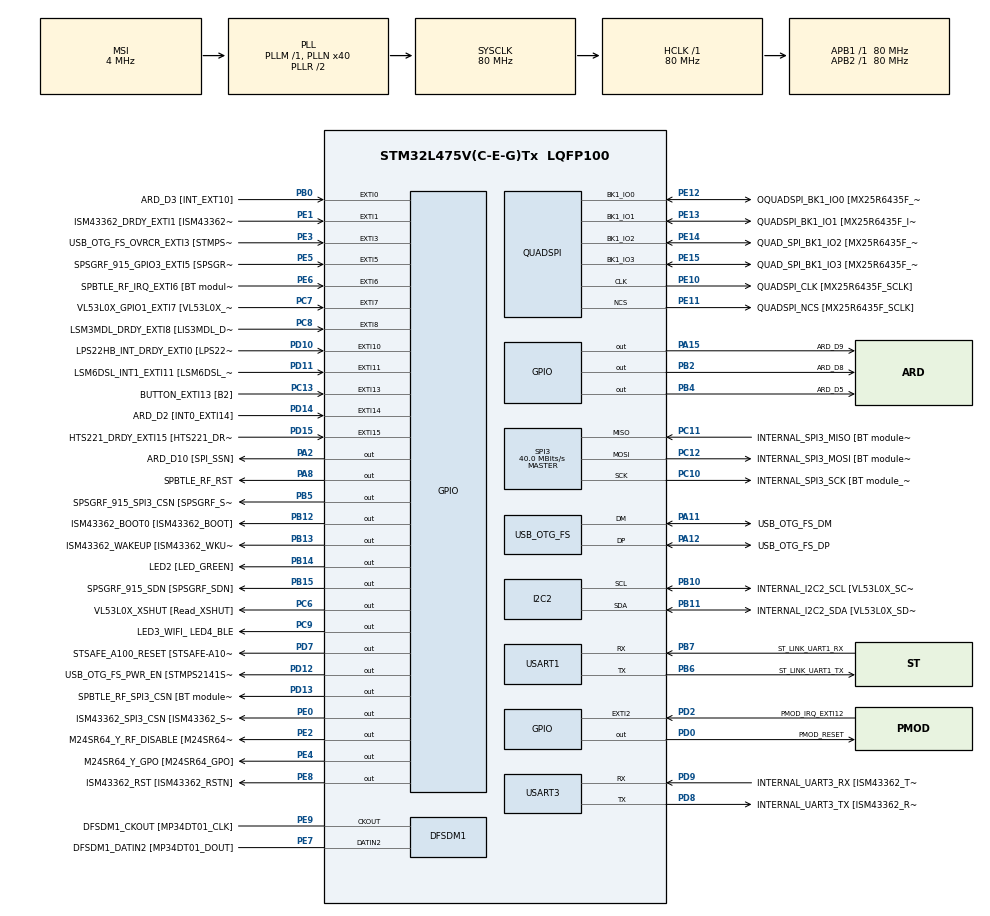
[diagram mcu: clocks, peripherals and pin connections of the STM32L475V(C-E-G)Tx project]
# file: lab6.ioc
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ADC1.Channel-0\#ChannelRegularConversion=ADC_CHANNEL_TEMPSENSOR
ADC1.ClockPrescaler=ADC_CLOCK_SYNC_PCLK_DIV4
ADC1.ContinuousConvMode=DISABLE
ADC1.ExternalTrigConv=ADC_EXTERNALTRIG_T1_TRGO
ADC1.NbrOfConversionFlag=1
ADC1.OffsetNumber-0\#ChannelRegularConversion=ADC_OFFSET_NONE
ADC1.Rank-0\#ChannelRegularConversion=1
ADC1.SamplingTime-0\#ChannelRegularConversion=ADC_SAMPLETIME_2CYCLES_5
ADC1.master=1
FREERTOS.Tasks01=defaultTask,24,128,StartDefaultTask,Default,NULL,Dynamic,NULL,NULL;adcTask,27,128,StartAdcTask,Default,NULL,Dynamic,NULL,NULL
I2C2.Timing=0x10D19CE4
Mcu.Family=STM32L4
Mcu.Name=STM32L475V(C-E-G)Tx
Mcu.Package=LQFP100
NVIC.ADC1_2_IRQn=true\:5\:0\:false\:false\:true\:true\:true\:true\:true
NVIC.EXTI15_10_IRQn=true\:5\:0\:false\:false\:true\:true\:true\:true\:true
NVIC.EXTI9_5_IRQn=true\:5\:0\:false\:false\:true\:true\:true\:true\:true
NVIC.PriorityGroup=NVIC_PRIORITYGROUP_4
PA0.GPIO_Label=ARD_D1 [UART4_TX]
PA0.Signal=UART4_TX
PA1.GPIO_Label=ARD_D0 [UART4_RX]
PA1.Signal=UART4_RX
PA10.GPIO_Label=USB_OTG_FS_ID
PA10.Signal=USB_OTG_FS_ID
PA11.GPIO_Label=USB_OTG_FS_DM
PA11.Mode=Device_Only
PA11.Signal=USB_OTG_FS_DM
PA12.GPIO_Label=USB_OTG_FS_DP
PA12.Mode=Device_Only
PA12.Signal=USB_OTG_FS_DP
PA13\ (JTMS-SWDIO).GPIO_Label=SYS_JTMS_SWDIO
PA13\ (JTMS-SWDIO).Mode=Serial_Wire
PA13\ (JTMS-SWDIO).Signal=SYS_JTMS-SWDIO
PA14\ (JTCK-SWCLK).GPIO_Label=SYS_JTCK_SWCLK
PA14\ (JTCK-SWCLK).Mode=Serial_Wire
PA14\ (JTCK-SWCLK).Signal=SYS_JTCK-SWCLK
PA15\ (JTDI).GPIO_Label=ARD_D9
PA15\ (JTDI).Signal=GPIO_Output
PA2.GPIO_Label=ARD_D10 [SPI_SSN]
PA2.Signal=GPIO_Output
PA3.GPIO_Label=ARD_D4
PA3.Signal=S_TIM2_CH4
PA4.GPIO_Label=ARD_D7
PA4.Signal=ADCx_IN9
PA5.GPIO_Label=ARD_D13 [SPI1_SCK]
PA5.Signal=SPI1_SCK
PA6.GPIO_Label=ARD_D12 [SPI1_MISO]
PA6.Signal=SPI1_MISO
PA7.GPIO_Label=ARD_D11 [SPI1_MOSI]
PA7.Signal=SPI1_MOSI
PA8.GPIO_Label=SPBTLE_RF_RST
PA8.Signal=GPIO_Output
PA9.GPIO_Label=USB_OTG_FS_VBUS [STMPS2141STR_OUT]
PA9.Signal=USB_OTG_FS_VBUS
PB0.GPIO_Label=ARD_D3 [INT_EXT10]
PB0.Signal=GPXTI0
PB1.GPIO_Label=ARD_D6 [ADC1_IN6]
PB1.Signal=ADCx_IN16
PB10.GPIO_Label=INTERNAL_I2C2_SCL [VL53L0X_SCL]
PB10.GPIO_Pu=GPIO_PULLUP
PB10.Mode=I2C
PB10.Signal=I2C2_SCL
PB11.GPIO_Label=INTERNAL_I2C2_SDA [VL53L0X_SDA]
PB11.GPIO_Pu=GPIO_PULLUP
PB11.Mode=I2C
PB11.Signal=I2C2_SDA
PB12.GPIO_Label=ISM43362_BOOT0 [ISM43362_BOOT]
PB12.Signal=GPIO_Output
PB13.GPIO_Label=ISM43362_WAKEUP [ISM43362_WKUP]
PB13.Signal=GPIO_Output
PB14.GPIO_Label=LED2 [LED_GREEN]
PB14.Signal=GPIO_Output
PB15.GPIO_Label=SPSGRF_915_SDN [SPSGRF_SDN]
PB15.Signal=GPIO_Output
PB2.GPIO_Label=ARD_D8
PB2.Signal=GPIO_Output
PB3\ (JTDO-TRACESWO).GPIO_Label=SYS_JTD0_SWO
PB3\ (JTDO-TRACESWO).Signal=SYS_JTDO-SWO
PB4\ (NJTRST).GPIO_Label=ARD_D5
PB4\ (NJTRST).Signal=GPIO_Output
PB5.GPIO_Label=SPSGRF_915_SPI3_CSN [SPSGRF_SPI_CS]
PB5.PinState=GPIO_PIN_SET
PB5.Signal=GPIO_Output
PB6.GPIO_Label=ST_LINK_UART1_TX
PB6.Mode=Asynchronous
PB6.Signal=USART1_TX
PB7.GPIO_Label=ST_LINK_UART1_RX
PB7.Mode=Asynchronous
PB7.Signal=USART1_RX
PB8.GPIO_Label=ARD_D15 [I2C1_SCL]
PB8.Signal=I2C1_SCL
PB9.GPIO_Label=ARD_D14 [I2C1_SDA]
PB9.Signal=I2C1_SDA
PC0.GPIO_Label=ARD_A5 [ADC]
PC0.Signal=ADCx_IN1
PC1.GPIO_Label=ARD_A4 [ADC]
PC1.Signal=ADCx_IN2
PC10.GPIO_Label=INTERNAL_SPI3_SCK [BT module_SPI_SCLK] [ISM43362_SCK]
PC10.Mode=Full_Duplex_Master
PC10.Signal=SPI3_SCK
PC11.GPIO_Label=INTERNAL_SPI3_MISO [BT module_SPI_MISO] [ISM43362_MISO]
PC11.Mode=Full_Duplex_Master
PC11.Signal=SPI3_MISO
PC12.GPIO_Label=INTERNAL_SPI3_MOSI [BT module_SPI_MOSI] [ISM43362_MOSI]
PC12.Mode=Full_Duplex_Master
PC12.Signal=SPI3_MOSI
PC13.GPIO_Label=BUTTON_EXTI13 [B2]
PC13.GPIO_ModeDefaultEXTI=GPIO_MODE_IT_FALLING
PC13.Signal=GPXTI13
PC14-OSC32_IN\ (PC14).Mode=LSE-External-Oscillator
PC14-OSC32_IN\ (PC14).Signal=RCC_OSC32_IN
PC15-OSC32_OUT\ (PC15).Mode=LSE-External-Oscillator
PC15-OSC32_OUT\ (PC15).Signal=RCC_OSC32_OUT
PC2.GPIO_Label=ARD_A3 [ADC]
PC2.Signal=ADCx_IN3
PC3.GPIO_Label=ARD_A2 [ADC]
PC3.Signal=ADCx_IN4
PC4.GPIO_Label=ARD_A1 [ADC]
PC4.Signal=ADCx_IN13
PC5.GPIO_Label=ARD_A0 [ADC]
PC5.Signal=ADCx_IN14
PC6.GPIO_Label=VL53L0X_XSHUT [Read_XSHUT]
PC6.Signal=GPIO_Output
PC7.GPIO_Label=VL53L0X_GPIO1_EXTI7 [VL53L0X_GPIO1]
PC7.Signal=GPXTI7
PC8.GPIO_Label=LSM3MDL_DRDY_EXTI8 [LIS3MDL_DRDY]
PC8.Signal=GPXTI8
PC9.GPIO_Label=LED3_WIFI_ LED4_BLE
PC9.Signal=GPIO_Output
PD0.GPIO_Label=PMOD_RESET
PD0.Signal=GPIO_Output
PD1.GPIO_Label=PMOD_SPI2_SCK
PD1.Signal=SPI2_SCK
PD10.GPIO_Label=LPS22HB_INT_DRDY_EXTI0 [LPS22HB_INT_DRDY] 
PD10.Signal=GPXTI10
PD11.GPIO_Label=LSM6DSL_INT1_EXTI11 [LSM6DSL_INT1]
PD11.Signal=GPXTI11
PD12.GPIO_Label=USB_OTG_FS_PWR_EN [STMPS2141STR_EN]
PD12.Signal=GPIO_Output
PD13.GPIO_Label=SPBTLE_RF_SPI3_CSN [BT module_SPI_CS]
PD13.PinState=GPIO_PIN_SET
PD13.Signal=GPIO_Output
PD14.GPIO_Label=ARD_D2 [INT0_EXTI14]
PD14.Signal=GPXTI14
PD15.GPIO_Label=HTS221_DRDY_EXTI15 [HTS221_DRDY]
PD15.Signal=GPXTI15
PD2.GPIO_Label=PMOD_IRQ_EXTI12
PD2.Signal=GPXTI2
PD3.GPIO_Label=PMOD_UART2_CTS
PD3.Signal=USART2_CTS
PD4.GPIO_Label=PMOD_UART2_RTS
PD4.Signal=USART2_RTS
PD5.GPIO_Label=PMOD_UART2_TX
PD5.Signal=USART2_TX
PD6.GPIO_Label=PMOD_UART2_RX
PD6.Signal=USART2_RX
PD7.GPIO_Label=STSAFE_A100_RESET [STSAFE-A100_RESET]
PD7.Signal=GPIO_Output
PD8.GPIO_Label=INTERNAL_UART3_TX [ISM43362_RX]
PD8.Mode=Asynchronous
PD8.Signal=USART3_TX
PD9.GPIO_Label=INTERNAL_UART3_RX [ISM43362_TX]
PD9.Mode=Asynchronous
PD9.Signal=USART3_RX
PE0.GPIO_Label=ISM43362_SPI3_CSN [ISM43362_SSN]
PE0.PinState=GPIO_PIN_SET
PE0.Signal=GPIO_Output
PE1.GPIO_Label=ISM43362_DRDY_EXTI1 [ISM43362_DATARDY]
PE1.Signal=GPXTI1
PE10.GPIO_Label=QUADSPI_CLK [MX25R6435F_SCLK]
PE10.Mode=Single Bank
PE10.Signal=QUADSPI_CLK
PE11.GPIO_Label=QUADSPI_NCS [MX25R6435F_SCLK]
PE11.Mode=Single Bank
PE11.Signal=QUADSPI_NCS
PE12.GPIO_Label=OQUADSPI_BK1_IO0 [MX25R6435F_IO0]
PE12.Mode=Single Bank
PE12.Signal=QUADSPI_BK1_IO0
PE13.GPIO_Label=QUADSPI_BK1_IO1 [MX25R6435F_IO1]
PE13.Mode=Single Bank
PE13.Signal=QUADSPI_BK1_IO1
PE14.GPIO_Label=QUAD_SPI_BK1_IO2 [MX25R6435F_IO2]
PE14.Mode=Single Bank
PE14.Signal=QUADSPI_BK1_IO2
PE15.GPIO_Label=QUAD_SPI_BK1_IO3 [MX25R6435F_IO3]
PE15.Mode=Single Bank
PE15.Signal=QUADSPI_BK1_IO3
PE2.GPIO_Label=M24SR64_Y_RF_DISABLE [M24SR64_RFDIS]
PE2.Signal=GPIO_Output
PE3.GPIO_Label=USB_OTG_FS_OVRCR_EXTI3 [STMPS2141STR_FAULT]
PE3.Signal=GPXTI3
PE4.GPIO_Label=M24SR64_Y_GPO [M24SR64_GPO]
PE4.Signal=GPIO_Output
PE5.GPIO_Label=SPSGRF_915_GPIO3_EXTI5 [SPSGRF_GPIO_3]
PE5.Signal=GPXTI5
PE6.GPIO_Label=SPBTLE_RF_IRQ_EXTI6 [BT module_SPI_IRQ]
PE6.Signal=GPXTI6
PE7.GPIO_Label=DFSDM1_DATIN2 [MP34DT01_DOUT]
PE7.Signal=S_DATAIN2DFSDM1
PE8.GPIO_Label=ISM43362_RST [ISM43362_RSTN]
PE8.Signal=GPIO_Output
PE9.GPIO_Label=DFSDM1_CKOUT [MP34DT01_CLK]
PE9.Signal=S_CKOUTDFSDM1
ProjectManager.HeapSize=0x200
ProjectManager.StackSize=0x400
ProjectManager.TargetToolchain=STM32CubeIDE
QUADSPI.ClockPrescaler=2
QUADSPI.FifoThreshold=4
QUADSPI.FlashSize=23
QUADSPI.SampleShifting=QSPI_SAMPLE_SHIFTING_HALFCYCLE
RCC.ADCFreq_Value=48000000
RCC.AHBFreq_Value=80000000
RCC.APB1Freq_Value=80000000
RCC.APB1TimFreq_Value=80000000
RCC.APB2Freq_Value=80000000
RCC.APB2TimFreq_Value=80000000
RCC.CortexFreq_Value=80000000
RCC.HCLKFreq_Value=80000000
RCC.HSE_VALUE=8000000
RCC.HSI_VALUE=16000000
RCC.MSI_VALUE=4000000
RCC.PLLN=40
RCC.PLLSAI1N=24
RCC.SYSCLKFreq_VALUE=80000000
RCC.SYSCLKSource=RCC_SYSCLKSOURCE_PLLCLK
RCC.USBFreq_Value=48000000
RCC.VCOOutputFreq_Value=160000000
SH.ADCx_IN1.0=ADC1_IN1
SH.ADCx_IN13.0=ADC1_IN13
SH.ADCx_IN14.0=ADC1_IN14
SH.ADCx_IN16.0=ADC1_IN16
SH.ADCx_IN2.0=ADC1_IN2
SH.ADCx_IN3.0=ADC1_IN3
SH.ADCx_IN4.0=ADC1_IN4
SH.ADCx_IN9.0=ADC1_IN9
SH.S_CKOUTDFSDM1.0=DFSDM1_CKOUT,CKOUT
SH.S_CKOUTDFSDM1.1=DFSDM1_CKOUT,PDM_SPI_Input_from_ch12_and_Internal_Clock
SH.S_DATAIN2DFSDM1.0=DFSDM1_DATIN2,PDM_SPI_Input_from_ch12_and_Internal_Clock
SH.S_TIM2_CH4.0=TIM2_CH4
SPI3.CalculateBaudRate=40.0 MBits/s
SPI3.Direction=SPI_DIRECTION_2LINES
SPI3.Mode=SPI_MODE_MASTER
SPI3.VirtualType=VM_MASTER
TIM1.Period=999
TIM1.Prescaler=3999
TIM1.TIM_MasterOutputTrigger=TIM_TRGO_UPDATE
USART1.VirtualMode-Asynchronous=VM_ASYNC
USART3.VirtualMode-Asynchronous=VM_ASYNC
USB_OTG_FS.VirtualMode=Device_Only
VP_ADC1_TempSens_Input.Mode=IN-TempSens
VP_FREERTOS_VS_CMSIS_V2.Mode=CMSIS_V2
VP_TIM1_VS_ClockSourceINT.Mode=Internal
board=B-L475E-IOT01A2

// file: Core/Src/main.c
/* USER CODE BEGIN Header */
/**
  ******************************************************************************
  * @file           : main.c
  * @brief          : Main program body
  ******************************************************************************
  * @attention
  *
  * Copyright (c) 2024 STMicroelectronics.
  * All rights reserved.
  *
  * This software is licensed under terms that can be found in the LICENSE file
  * in the root directory of this software component.
  * If no LICENSE file comes with this software, it is provided AS-IS.
  *
  ******************************************************************************
  */
/* USER CODE END Header */
#include "main.h"
#include "cmsis_os.h"

/* USER CODE BEGIN Includes */
#include "stdio.h"
/* USER CODE END Includes */

/* USER CODE BEGIN PD */
#define TS_CAL1_ADDR ((uint16_t*) 0x1FFF75A8)  // TS_CAL1 address (30°C)
#define TS_CAL2_ADDR ((uint16_t*) 0x1FFF75CA)  // TS_CAL2 address (110°C)
#define TEMP30_CAL (*TS_CAL1_ADDR)
#define TEMP110_CAL (*TS_CAL2_ADDR)
#define V_REF 3.0f  // Reference voltage for STM32L4 series
/* USER CODE END PD */

ADC_HandleTypeDef hadc1;

DFSDM_Channel_HandleTypeDef hdfsdm1_channel1;

I2C_HandleTypeDef hi2c2;

QSPI_HandleTypeDef hqspi;

SPI_HandleTypeDef hspi3;

TIM_HandleTypeDef htim1;

UART_HandleTypeDef huart1;
UART_HandleTypeDef huart3;

PCD_HandleTypeDef hpcd_USB_OTG_FS;

/* Definitions for defaultTask */
osThreadId_t defaultTaskHandle;
const osThreadAttr_t defaultTask_attributes = {
  .name = "defaultTask",
  .stack_size = 128 * 4,
  .priority = (osPriority_t) osPriorityNormal,
};
/* Definitions for adcTask */
osThreadId_t adcTaskHandle;
const osThreadAttr_t adcTask_attributes = {
  .name = "adcTask",
  .stack_size = 128 * 4,
  .priority = (osPriority_t) osPriorityNormal3,
};
/* USER CODE BEGIN PV */
osSemaphoreId tim1_id;
uint16_t adcValue;
/* USER CODE END PV */

void SystemClock_Config(void);
void PeriphCommonClock_Config(void);
static void MX_GPIO_Init(void);
static void MX_DFSDM1_Init(void);
static void MX_I2C2_Init(void);
static void MX_QUADSPI_Init(void);
static void MX_SPI3_Init(void);
static void MX_USART1_UART_Init(void);
static void MX_USART3_UART_Init(void);
static void MX_USB_OTG_FS_PCD_Init(void);
static void MX_ADC1_Init(void);
static void MX_TIM1_Init(void);
void StartDefaultTask(void *argument);
void StartAdcTask(void *argument);

/* USER CODE BEGIN 0 */
int __io_putchar(int ch)
{
	HAL_UART_Transmit(&huart1, (uint8_t *)&ch, 1, 0xFFFF);
	return ch;
}
void HAL_ADC_ConvCpltCallback(ADC_HandleTypeDef *hadc)
{
//	uint16_t val = HAL_ADC_GetValue(&hadc1);
//	printf("%d\n", (int)val);

//	if (hadc->Instance == ADC1) {
//		uint16_t adcValue = HAL_ADC_GetValue(hadc); // Read ADC value
//
//		// Notify ADC task with the ADC result
//		xTaskNotify(adcTaskHandle, adcValue, eSetValueWithOverwrite);
//	}
	if (hadc->Instance == ADC1) {
		adcValue = HAL_ADC_GetValue(&hadc1); // Read ADC value

		// Send ADC result to the ADC task
		osSemaphoreRelease(tim1_id);
	}
}
/* USER CODE END 0 */

int main(void)
{

  /* MCU Configuration--------------------------------------------------------*/

  /* Reset of all peripherals, Initializes the Flash interface and the Systick. */
  HAL_Init();

  /* Configure the system clock */
  SystemClock_Config();

  /* Configure the peripherals common clocks */
  PeriphCommonClock_Config();

  /* Initialize all configured peripherals */
  MX_GPIO_Init();
  MX_DFSDM1_Init();
  MX_I2C2_Init();
  MX_QUADSPI_Init();
  MX_SPI3_Init();
  MX_USART1_UART_Init();
  MX_USART3_UART_Init();
  MX_USB_OTG_FS_PCD_Init();
  MX_ADC1_Init();
  MX_TIM1_Init();
  /* USER CODE BEGIN 2 */
  HAL_ADC_Start_IT(&hadc1);
  HAL_TIM_Base_Start_IT(&htim1);
  /* USER CODE END 2 */

  /* Init scheduler */
  osKernelInitialize();

  /* USER CODE BEGIN RTOS_SEMAPHORES */
  /* add semaphores, ... */
  tim1_id = osSemaphoreNew(1,0,NULL);
  /* USER CODE END RTOS_SEMAPHORES */

  /* Create the thread(s) */
  /* creation of defaultTask */
  defaultTaskHandle = osThreadNew(StartDefaultTask, NULL, &defaultTask_attributes);

  /* creation of adcTask */
  adcTaskHandle = osThreadNew(StartAdcTask, NULL, &adcTask_attributes);

  /* Start scheduler */
  osKernelStart();

  /* We should never get here as control is now taken by the scheduler */

  /* Infinite loop */
  while (1)
  {

  }
}

void SystemClock_Config(void)
{
  RCC_OscInitTypeDef RCC_OscInitStruct = {0};
  RCC_ClkInitTypeDef RCC_ClkInitStruct = {0};

  /** Configure the main internal regulator output voltage
  */
  if (HAL_PWREx_ControlVoltageScaling(PWR_REGULATOR_VOLTAGE_SCALE1) != HAL_OK)
  {
    Error_Handler();
  }

  /** Configure LSE Drive Capability
  */
  HAL_PWR_EnableBkUpAccess();
  __HAL_RCC_LSEDRIVE_CONFIG(RCC_LSEDRIVE_LOW);

  /** Initializes the RCC Oscillators according to the specified parameters
  * in the RCC_OscInitTypeDef structure.
  */
  RCC_OscInitStruct.OscillatorType = RCC_OSCILLATORTYPE_LSE|RCC_OSCILLATORTYPE_MSI;
  RCC_OscInitStruct.LSEState = RCC_LSE_ON;
  RCC_OscInitStruct.MSIState = RCC_MSI_ON;
  RCC_OscInitStruct.MSICalibrationValue = 0;
  RCC_OscInitStruct.MSIClockRange = RCC_MSIRANGE_6;
  RCC_OscInitStruct.PLL.PLLState = RCC_PLL_ON;
  RCC_OscInitStruct.PLL.PLLSource = RCC_PLLSOURCE_MSI;
  RCC_OscInitStruct.PLL.PLLM = 1;
  RCC_OscInitStruct.PLL.PLLN = 40;
  RCC_OscInitStruct.PLL.PLLP = RCC_PLLP_DIV7;
  RCC_OscInitStruct.PLL.PLLQ = RCC_PLLQ_DIV2;
  RCC_OscInitStruct.PLL.PLLR = RCC_PLLR_DIV2;
  if (HAL_RCC_OscConfig(&RCC_OscInitStruct) != HAL_OK)
  {
    Error_Handler();
  }

  /** Initializes the CPU, AHB and APB buses clocks
  */
  RCC_ClkInitStruct.ClockType = RCC_CLOCKTYPE_HCLK|RCC_CLOCKTYPE_SYSCLK
                              |RCC_CLOCKTYPE_PCLK1|RCC_CLOCKTYPE_PCLK2;
  RCC_ClkInitStruct.SYSCLKSource = RCC_SYSCLKSOURCE_PLLCLK;
  RCC_ClkInitStruct.AHBCLKDivider = RCC_SYSCLK_DIV1;
  RCC_ClkInitStruct.APB1CLKDivider = RCC_HCLK_DIV1;
  RCC_ClkInitStruct.APB2CLKDivider = RCC_HCLK_DIV1;

  if (HAL_RCC_ClockConfig(&RCC_ClkInitStruct, FLASH_LATENCY_4) != HAL_OK)
  {
    Error_Handler();
  }

  /** Enable MSI Auto calibration
  */
  HAL_RCCEx_EnableMSIPLLMode();
}

void PeriphCommonClock_Config(void)
{
  RCC_PeriphCLKInitTypeDef PeriphClkInit = {0};

  /** Initializes the peripherals clock
  */
  PeriphClkInit.PeriphClockSelection = RCC_PERIPHCLK_USB;
  PeriphClkInit.UsbClockSelection = RCC_USBCLKSOURCE_PLLSAI1;
  PeriphClkInit.PLLSAI1.PLLSAI1Source = RCC_PLLSOURCE_MSI;
  PeriphClkInit.PLLSAI1.PLLSAI1M = 1;
  PeriphClkInit.PLLSAI1.PLLSAI1N = 24;
  PeriphClkInit.PLLSAI1.PLLSAI1P = RCC_PLLP_DIV7;
  PeriphClkInit.PLLSAI1.PLLSAI1Q = RCC_PLLQ_DIV2;
  PeriphClkInit.PLLSAI1.PLLSAI1R = RCC_PLLR_DIV2;
  PeriphClkInit.PLLSAI1.PLLSAI1ClockOut = RCC_PLLSAI1_48M2CLK;
  if (HAL_RCCEx_PeriphCLKConfig(&PeriphClkInit) != HAL_OK)
  {
    Error_Handler();
  }
}

static void MX_ADC1_Init(void)
{

  ADC_MultiModeTypeDef multimode = {0};
  ADC_ChannelConfTypeDef sConfig = {0};

  /** Common config
  */
  hadc1.Instance = ADC1;
  hadc1.Init.ClockPrescaler = ADC_CLOCK_SYNC_PCLK_DIV4;
  hadc1.Init.Resolution = ADC_RESOLUTION_12B;
  hadc1.Init.DataAlign = ADC_DATAALIGN_RIGHT;
  hadc1.Init.ScanConvMode = ADC_SCAN_DISABLE;
  hadc1.Init.EOCSelection = ADC_EOC_SINGLE_CONV;
  hadc1.Init.LowPowerAutoWait = DISABLE;
  hadc1.Init.ContinuousConvMode = DISABLE;
  hadc1.Init.NbrOfConversion = 1;
  hadc1.Init.DiscontinuousConvMode = DISABLE;
  hadc1.Init.ExternalTrigConv = ADC_EXTERNALTRIG_T1_TRGO;
  hadc1.Init.ExternalTrigConvEdge = ADC_EXTERNALTRIGCONVEDGE_RISING;
  hadc1.Init.DMAContinuousRequests = DISABLE;
  hadc1.Init.Overrun = ADC_OVR_DATA_PRESERVED;
  hadc1.Init.OversamplingMode = DISABLE;
  if (HAL_ADC_Init(&hadc1) != HAL_OK)
  {
    Error_Handler();
  }

  /** Configure the ADC multi-mode
  */
  multimode.Mode = ADC_MODE_INDEPENDENT;
  if (HAL_ADCEx_MultiModeConfigChannel(&hadc1, &multimode) != HAL_OK)
  {
    Error_Handler();
  }

  /** Configure Regular Channel
  */
  sConfig.Channel = ADC_CHANNEL_TEMPSENSOR;
  sConfig.Rank = ADC_REGULAR_RANK_1;
  sConfig.SamplingTime = ADC_SAMPLETIME_2CYCLES_5;
  sConfig.SingleDiff = ADC_SINGLE_ENDED;
  sConfig.OffsetNumber = ADC_OFFSET_NONE;
  sConfig.Offset = 0;
  if (HAL_ADC_ConfigChannel(&hadc1, &sConfig) != HAL_OK)
  {
    Error_Handler();
  }

}

static void MX_DFSDM1_Init(void)
{

  hdfsdm1_channel1.Instance = DFSDM1_Channel1;
  hdfsdm1_channel1.Init.OutputClock.Activation = ENABLE;
  hdfsdm1_channel1.Init.OutputClock.Selection = DFSDM_CHANNEL_OUTPUT_CLOCK_SYSTEM;
  hdfsdm1_channel1.Init.OutputClock.Divider = 2;
  hdfsdm1_channel1.Init.Input.Multiplexer = DFSDM_CHANNEL_EXTERNAL_INPUTS;
  hdfsdm1_channel1.Init.Input.DataPacking = DFSDM_CHANNEL_STANDARD_MODE;
  hdfsdm1_channel1.Init.Input.Pins = DFSDM_CHANNEL_FOLLOWING_CHANNEL_PINS;
  hdfsdm1_channel1.Init.SerialInterface.Type = DFSDM_CHANNEL_SPI_RISING;
  hdfsdm1_channel1.Init.SerialInterface.SpiClock = DFSDM_CHANNEL_SPI_CLOCK_INTERNAL;
  hdfsdm1_channel1.Init.Awd.FilterOrder = DFSDM_CHANNEL_FASTSINC_ORDER;
  hdfsdm1_channel1.Init.Awd.Oversampling = 1;
  hdfsdm1_channel1.Init.Offset = 0;
  hdfsdm1_channel1.Init.RightBitShift = 0x00;
  if (HAL_DFSDM_ChannelInit(&hdfsdm1_channel1) != HAL_OK)
  {
    Error_Handler();
  }

}

static void MX_I2C2_Init(void)
{

  hi2c2.Instance = I2C2;
  hi2c2.Init.Timing = 0x10D19CE4;
  hi2c2.Init.OwnAddress1 = 0;
  hi2c2.Init.AddressingMode = I2C_ADDRESSINGMODE_7BIT;
  hi2c2.Init.DualAddressMode = I2C_DUALADDRESS_DISABLE;
  hi2c2.Init.OwnAddress2 = 0;
  hi2c2.Init.OwnAddress2Masks = I2C_OA2_NOMASK;
  hi2c2.Init.GeneralCallMode = I2C_GENERALCALL_DISABLE;
  hi2c2.Init.NoStretchMode = I2C_NOSTRETCH_DISABLE;
  if (HAL_I2C_Init(&hi2c2) != HAL_OK)
  {
    Error_Handler();
  }

  /** Configure Analogue filter
  */
  if (HAL_I2CEx_ConfigAnalogFilter(&hi2c2, I2C_ANALOGFILTER_ENABLE) != HAL_OK)
  {
    Error_Handler();
  }

  /** Configure Digital filter
  */
  if (HAL_I2CEx_ConfigDigitalFilter(&hi2c2, 0) != HAL_OK)
  {
    Error_Handler();
  }

}

static void MX_QUADSPI_Init(void)
{

  /* QUADSPI parameter configuration*/
  hqspi.Instance = QUADSPI;
  hqspi.Init.ClockPrescaler = 2;
  hqspi.Init.FifoThreshold = 4;
  hqspi.Init.SampleShifting = QSPI_SAMPLE_SHIFTING_HALFCYCLE;
  hqspi.Init.FlashSize = 23;
  hqspi.Init.ChipSelectHighTime = QSPI_CS_HIGH_TIME_1_CYCLE;
  hqspi.Init.ClockMode = QSPI_CLOCK_MODE_0;
  if (HAL_QSPI_Init(&hqspi) != HAL_OK)
  {
    Error_Handler();
  }

}

static void MX_SPI3_Init(void)
{

  /* SPI3 parameter configuration*/
  hspi3.Instance = SPI3;
  hspi3.Init.Mode = SPI_MODE_MASTER;
  hspi3.Init.Direction = SPI_DIRECTION_2LINES;
  hspi3.Init.DataSize = SPI_DATASIZE_4BIT;
  hspi3.Init.CLKPolarity = SPI_POLARITY_LOW;
  hspi3.Init.CLKPhase = SPI_PHASE_1EDGE;
  hspi3.Init.NSS = SPI_NSS_SOFT;
  hspi3.Init.BaudRatePrescaler = SPI_BAUDRATEPRESCALER_2;
  hspi3.Init.FirstBit = SPI_FIRSTBIT_MSB;
  hspi3.Init.TIMode = SPI_TIMODE_DISABLE;
  hspi3.Init.CRCCalculation = SPI_CRCCALCULATION_DISABLE;
  hspi3.Init.CRCPolynomial = 7;
  hspi3.Init.CRCLength = SPI_CRC_LENGTH_DATASIZE;
  hspi3.Init.NSSPMode = SPI_NSS_PULSE_ENABLE;
  if (HAL_SPI_Init(&hspi3) != HAL_OK)
  {
    Error_Handler();
  }

}

static void MX_TIM1_Init(void)
{

  TIM_ClockConfigTypeDef sClockSourceConfig = {0};
  TIM_MasterConfigTypeDef sMasterConfig = {0};

  htim1.Instance = TIM1;
  htim1.Init.Prescaler = 3999;
  htim1.Init.CounterMode = TIM_COUNTERMODE_UP;
  htim1.Init.Period = 999;
  htim1.Init.ClockDivision = TIM_CLOCKDIVISION_DIV1;
  htim1.Init.RepetitionCounter = 0;
  htim1.Init.AutoReloadPreload = TIM_AUTORELOAD_PRELOAD_DISABLE;
  if (HAL_TIM_Base_Init(&htim1) != HAL_OK)
  {
    Error_Handler();
  }
  sClockSourceConfig.ClockSource = TIM_CLOCKSOURCE_INTERNAL;
  if (HAL_TIM_ConfigClockSource(&htim1, &sClockSourceConfig) != HAL_OK)
  {
    Error_Handler();
  }
  sMasterConfig.MasterOutputTrigger = TIM_TRGO_UPDATE;
  sMasterConfig.MasterOutputTrigger2 = TIM_TRGO2_RESET;
  sMasterConfig.MasterSlaveMode = TIM_MASTERSLAVEMODE_DISABLE;
  if (HAL_TIMEx_MasterConfigSynchronization(&htim1, &sMasterConfig) != HAL_OK)
  {
    Error_Handler();
  }

}

static void MX_USART1_UART_Init(void)
{

  huart1.Instance = USART1;
  huart1.Init.BaudRate = 115200;
  huart1.Init.WordLength = UART_WORDLENGTH_8B;
  huart1.Init.StopBits = UART_STOPBITS_1;
  huart1.Init.Parity = UART_PARITY_NONE;
  huart1.Init.Mode = UART_MODE_TX_RX;
  huart1.Init.HwFlowCtl = UART_HWCONTROL_NONE;
  huart1.Init.OverSampling = UART_OVERSAMPLING_16;
  huart1.Init.OneBitSampling = UART_ONE_BIT_SAMPLE_DISABLE;
  huart1.AdvancedInit.AdvFeatureInit = UART_ADVFEATURE_NO_INIT;
  if (HAL_UART_Init(&huart1) != HAL_OK)
  {
    Error_Handler();
  }

}

static void MX_USART3_UART_Init(void)
{

  huart3.Instance = USART3;
  huart3.Init.BaudRate = 115200;
  huart3.Init.WordLength = UART_WORDLENGTH_8B;
  huart3.Init.StopBits = UART_STOPBITS_1;
  huart3.Init.Parity = UART_PARITY_NONE;
  huart3.Init.Mode = UART_MODE_TX_RX;
  huart3.Init.HwFlowCtl = UART_HWCONTROL_NONE;
  huart3.Init.OverSampling = UART_OVERSAMPLING_16;
  huart3.Init.OneBitSampling = UART_ONE_BIT_SAMPLE_DISABLE;
  huart3.AdvancedInit.AdvFeatureInit = UART_ADVFEATURE_NO_INIT;
  if (HAL_UART_Init(&huart3) != HAL_OK)
  {
    Error_Handler();
  }

}

static void MX_USB_OTG_FS_PCD_Init(void)
{

  hpcd_USB_OTG_FS.Instance = USB_OTG_FS;
  hpcd_USB_OTG_FS.Init.dev_endpoints = 6;
  hpcd_USB_OTG_FS.Init.speed = PCD_SPEED_FULL;
  hpcd_USB_OTG_FS.Init.phy_itface = PCD_PHY_EMBEDDED;
  hpcd_USB_OTG_FS.Init.Sof_enable = DISABLE;
  hpcd_USB_OTG_FS.Init.low_power_enable = DISABLE;
  hpcd_USB_OTG_FS.Init.lpm_enable = DISABLE;
  hpcd_USB_OTG_FS.Init.battery_charging_enable = DISABLE;
  hpcd_USB_OTG_FS.Init.use_dedicated_ep1 = DISABLE;
  hpcd_USB_OTG_FS.Init.vbus_sensing_enable = DISABLE;
  if (HAL_PCD_Init(&hpcd_USB_OTG_FS) != HAL_OK)
  {
    Error_Handler();
  }

}

static void MX_GPIO_Init(void)
{
  GPIO_InitTypeDef GPIO_InitStruct = {0};

  /* GPIO Ports Clock Enable */
  __HAL_RCC_GPIOE_CLK_ENABLE();
  __HAL_RCC_GPIOC_CLK_ENABLE();
  __HAL_RCC_GPIOA_CLK_ENABLE();
  __HAL_RCC_GPIOB_CLK_ENABLE();
  __HAL_RCC_GPIOD_CLK_ENABLE();

  /*Configure GPIO pin Output Level */
  HAL_GPIO_WritePin(GPIOE, M24SR64_Y_RF_DISABLE_Pin|M24SR64_Y_GPO_Pin|ISM43362_RST_Pin, GPIO_PIN_RESET);

  /*Configure GPIO pin Output Level */
  HAL_GPIO_WritePin(GPIOA, ARD_D10_Pin|SPBTLE_RF_RST_Pin|ARD_D9_Pin, GPIO_PIN_RESET);

  /*Configure GPIO pin Output Level */
  HAL_GPIO_WritePin(GPIOB, ARD_D8_Pin|ISM43362_BOOT0_Pin|ISM43362_WAKEUP_Pin|LED2_Pin
                          |SPSGRF_915_SDN_Pin|ARD_D5_Pin, GPIO_PIN_RESET);

  /*Configure GPIO pin Output Level */
  HAL_GPIO_WritePin(GPIOD, USB_OTG_FS_PWR_EN_Pin|PMOD_RESET_Pin|STSAFE_A100_RESET_Pin, GPIO_PIN_RESET);

  /*Configure GPIO pin Output Level */
  HAL_GPIO_WritePin(SPBTLE_RF_SPI3_CSN_GPIO_Port, SPBTLE_RF_SPI3_CSN_Pin, GPIO_PIN_SET);

  /*Configure GPIO pin Output Level */
  HAL_GPIO_WritePin(GPIOC, VL53L0X_XSHUT_Pin|LED3_WIFI__LED4_BLE_Pin, GPIO_PIN_RESET);

  /*Configure GPIO pin Output Level */
  HAL_GPIO_WritePin(SPSGRF_915_SPI3_CSN_GPIO_Port, SPSGRF_915_SPI3_CSN_Pin, GPIO_PIN_SET);

  /*Configure GPIO pin Output Level */
  HAL_GPIO_WritePin(ISM43362_SPI3_CSN_GPIO_Port, ISM43362_SPI3_CSN_Pin, GPIO_PIN_SET);

  /*Configure GPIO pins : M24SR64_Y_RF_DISABLE_Pin M24SR64_Y_GPO_Pin ISM43362_RST_Pin ISM43362_SPI3_CSN_Pin */
  GPIO_InitStruct.Pin = M24SR64_Y_RF_DISABLE_Pin|M24SR64_Y_GPO_Pin|ISM43362_RST_Pin|ISM43362_SPI3_CSN_Pin;
  GPIO_InitStruct.Mode = GPIO_MODE_OUTPUT_PP;
  GPIO_InitStruct.Pull = GPIO_NOPULL;
  GPIO_InitStruct.Speed = GPIO_SPEED_FREQ_LOW;
  HAL_GPIO_Init(GPIOE, &GPIO_InitStruct);

  /*Configure GPIO pins : USB_OTG_FS_OVRCR_EXTI3_Pin SPSGRF_915_GPIO3_EXTI5_Pin SPBTLE_RF_IRQ_EXTI6_Pin ISM43362_DRDY_EXTI1_Pin */
  GPIO_InitStruct.Pin = USB_OTG_FS_OVRCR_EXTI3_Pin|SPSGRF_915_GPIO3_EXTI5_Pin|SPBTLE_RF_IRQ_EXTI6_Pin|ISM43362_DRDY_EXTI1_Pin;
  GPIO_InitStruct.Mode = GPIO_MODE_IT_RISING;
  GPIO_InitStruct.Pull = GPIO_NOPULL;
  HAL_GPIO_Init(GPIOE, &GPIO_InitStruct);

  /*Configure GPIO pin : BUTTON_EXTI13_Pin */
  GPIO_InitStruct.Pin = BUTTON_EXTI13_Pin;
  GPIO_InitStruct.Mode = GPIO_MODE_IT_FALLING;
  GPIO_InitStruct.Pull = GPIO_NOPULL;
  HAL_GPIO_Init(BUTTON_EXTI13_GPIO_Port, &GPIO_InitStruct);

  /*Configure GPIO pins : ARD_D1_Pin ARD_D0_Pin */
  GPIO_InitStruct.Pin = ARD_D1_Pin|ARD_D0_Pin;
  GPIO_InitStruct.Mode = GPIO_MODE_AF_PP;
  GPIO_InitStruct.Pull = GPIO_NOPULL;
  GPIO_InitStruct.Speed = GPIO_SPEED_FREQ_VERY_HIGH;
  GPIO_InitStruct.Alternate = GPIO_AF8_UART4;
  HAL_GPIO_Init(GPIOA, &GPIO_InitStruct);

  /*Configure GPIO pins : ARD_D10_Pin SPBTLE_RF_RST_Pin ARD_D9_Pin */
  GPIO_InitStruct.Pin = ARD_D10_Pin|SPBTLE_RF_RST_Pin|ARD_D9_Pin;
  GPIO_InitStruct.Mode = GPIO_MODE_OUTPUT_PP;
  GPIO_InitStruct.Pull = GPIO_NOPULL;
  GPIO_InitStruct.Speed = GPIO_SPEED_FREQ_LOW;
  HAL_GPIO_Init(GPIOA, &GPIO_InitStruct);

  /*Configure GPIO pin : ARD_D4_Pin */
  GPIO_InitStruct.Pin = ARD_D4_Pin;
  GPIO_InitStruct.Mode = GPIO_MODE_AF_PP;
  GPIO_InitStruct.Pull = GPIO_NOPULL;
  GPIO_InitStruct.Speed = GPIO_SPEED_FREQ_LOW;
  GPIO_InitStruct.Alternate = GPIO_AF1_TIM2;
  HAL_GPIO_Init(ARD_D4_GPIO_Port, &GPIO_InitStruct);

  /*Configure GPIO pins : ARD_D13_Pin ARD_D12_Pin ARD_D11_Pin */
  GPIO_InitStruct.Pin = ARD_D13_Pin|ARD_D12_Pin|ARD_D11_Pin;
  GPIO_InitStruct.Mode = GPIO_MODE_AF_PP;
  GPIO_InitStruct.Pull = GPIO_NOPULL;
  GPIO_InitStruct.Speed = GPIO_SPEED_FREQ_VERY_HIGH;
  GPIO_InitStruct.Alternate = GPIO_AF5_SPI1;
  HAL_GPIO_Init(GPIOA, &GPIO_InitStruct);

  /*Configure GPIO pin : ARD_D3_Pin */
  GPIO_InitStruct.Pin = ARD_D3_Pin;
  GPIO_InitStruct.Mode = GPIO_MODE_IT_RISING;
  GPIO_InitStruct.Pull = GPIO_NOPULL;
  HAL_GPIO_Init(ARD_D3_GPIO_Port, &GPIO_InitStruct);

  /*Configure GPIO pins : ARD_D8_Pin ISM43362_BOOT0_Pin ISM43362_WAKEUP_Pin LED2_Pin
                           SPSGRF_915_SDN_Pin ARD_D5_Pin SPSGRF_915_SPI3_CSN_Pin */
  GPIO_InitStruct.Pin = ARD_D8_Pin|ISM43362_BOOT0_Pin|ISM43362_WAKEUP_Pin|LED2_Pin
                          |SPSGRF_915_SDN_Pin|ARD_D5_Pin|SPSGRF_915_SPI3_CSN_Pin;
  GPIO_InitStruct.Mode = GPIO_MODE_OUTPUT_PP;
  GPIO_InitStruct.Pull = GPIO_NOPULL;
  GPIO_InitStruct.Speed = GPIO_SPEED_FREQ_LOW;
  HAL_GPIO_Init(GPIOB, &GPIO_InitStruct);

  /*Configure GPIO pins : LPS22HB_INT_DRDY_EXTI0_Pin LSM6DSL_INT1_EXTI11_Pin ARD_D2_Pin HTS221_DRDY_EXTI15_Pin
                           PMOD_IRQ_EXTI12_Pin */
  GPIO_InitStruct.Pin = LPS22HB_INT_DRDY_EXTI0_Pin|LSM6DSL_INT1_EXTI11_Pin|ARD_D2_Pin|HTS221_DRDY_EXTI15_Pin
                          |PMOD_IRQ_EXTI12_Pin;
  GPIO_InitStruct.Mode = GPIO_MODE_IT_RISING;
  GPIO_InitStruct.Pull = GPIO_NOPULL;
  HAL_GPIO_Init(GPIOD, &GPIO_InitStruct);

  /*Configure GPIO pins : USB_OTG_FS_PWR_EN_Pin SPBTLE_RF_SPI3_CSN_Pin PMOD_RESET_Pin STSAFE_A100_RESET_Pin */
  GPIO_InitStruct.Pin = USB_OTG_FS_PWR_EN_Pin|SPBTLE_RF_SPI3_CSN_Pin|PMOD_RESET_Pin|STSAFE_A100_RESET_Pin;
  GPIO_InitStruct.Mode = GPIO_MODE_OUTPUT_PP;
  GPIO_InitStruct.Pull = GPIO_NOPULL;
  GPIO_InitStruct.Speed = GPIO_SPEED_FREQ_LOW;
  HAL_GPIO_Init(GPIOD, &GPIO_InitStruct);

  /*Configure GPIO pins : VL53L0X_XSHUT_Pin LED3_WIFI__LED4_BLE_Pin */
  GPIO_InitStruct.Pin = VL53L0X_XSHUT_Pin|LED3_WIFI__LED4_BLE_Pin;
  GPIO_InitStruct.Mode = GPIO_MODE_OUTPUT_PP;
  GPIO_InitStruct.Pull = GPIO_NOPULL;
  GPIO_InitStruct.Speed = GPIO_SPEED_FREQ_LOW;
  HAL_GPIO_Init(GPIOC, &GPIO_InitStruct);

  /*Configure GPIO pins : VL53L0X_GPIO1_EXTI7_Pin LSM3MDL_DRDY_EXTI8_Pin */
  GPIO_InitStruct.Pin = VL53L0X_GPIO1_EXTI7_Pin|LSM3MDL_DRDY_EXTI8_Pin;
  GPIO_InitStruct.Mode = GPIO_MODE_IT_RISING;
  GPIO_InitStruct.Pull = GPIO_NOPULL;
  HAL_GPIO_Init(GPIOC, &GPIO_InitStruct);

  /*Configure GPIO pin : PMOD_SPI2_SCK_Pin */
  GPIO_InitStruct.Pin = PMOD_SPI2_SCK_Pin;
  GPIO_InitStruct.Mode = GPIO_MODE_AF_PP;
  GPIO_InitStruct.Pull = GPIO_NOPULL;
  GPIO_InitStruct.Speed = GPIO_SPEED_FREQ_VERY_HIGH;
  GPIO_InitStruct.Alternate = GPIO_AF5_SPI2;
  HAL_GPIO_Init(PMOD_SPI2_SCK_GPIO_Port, &GPIO_InitStruct);

  /*Configure GPIO pins : PMOD_UART2_CTS_Pin PMOD_UART2_RTS_Pin PMOD_UART2_TX_Pin PMOD_UART2_RX_Pin */
  GPIO_InitStruct.Pin = PMOD_UART2_CTS_Pin|PMOD_UART2_RTS_Pin|PMOD_UART2_TX_Pin|PMOD_UART2_RX_Pin;
  GPIO_InitStruct.Mode = GPIO_MODE_AF_PP;
  GPIO_InitStruct.Pull = GPIO_NOPULL;
  GPIO_InitStruct.Speed = GPIO_SPEED_FREQ_VERY_HIGH;
  GPIO_InitStruct.Alternate = GPIO_AF7_USART2;
  HAL_GPIO_Init(GPIOD, &GPIO_InitStruct);

  /*Configure GPIO pins : ARD_D15_Pin ARD_D14_Pin */
  GPIO_InitStruct.Pin = ARD_D15_Pin|ARD_D14_Pin;
  GPIO_InitStruct.Mode = GPIO_MODE_AF_OD;
  GPIO_InitStruct.Pull = GPIO_NOPULL;
  GPIO_InitStruct.Speed = GPIO_SPEED_FREQ_VERY_HIGH;
  GPIO_InitStruct.Alternate = GPIO_AF4_I2C1;
  HAL_GPIO_Init(GPIOB, &GPIO_InitStruct);

  /* EXTI interrupt init*/
  HAL_NVIC_SetPriority(EXTI9_5_IRQn, 5, 0);
  HAL_NVIC_EnableIRQ(EXTI9_5_IRQn);

  HAL_NVIC_SetPriority(EXTI15_10_IRQn, 5, 0);
  HAL_NVIC_EnableIRQ(EXTI15_10_IRQn);

}

void StartDefaultTask(void *argument)
{
  for(;;)
  {
    osDelay(1);
  }
}

void StartAdcTask(void *argument)
{
  /* USER CODE BEGIN StartAdcTask */
  /* Infinite loop */
  for(;;)
  {
	  // Wait for notification from ADC interrupt
	  if (osSemaphoreAcquire(tim1_id, osWaitForever) == osOK) {
		  // Convert ADC value to temperature (may need calibration)
//		  float adcVoltage = ((float)adcValue * 3 / 4095); // Example conversion
//		  float temperature = ((float)(adcVoltage-0.76) / 0.0025 + 25);
		  float temperature = ((float)(adcValue - TEMP30_CAL) * (110.0f - 30.0f)) / (TEMP110_CAL - TEMP30_CAL) + 30.0f;
		  // Format the temperature value to print
//		  printf("%d, %d, %d, Temperature: %.2f°C\r\n",adcValue ,TEMP30_CAL, TEMP110_CAL, temperature);
		  printf(Temperature: %.2f°C\r\n", temperature);

		  // Send over UART
//		  HAL_UART_Transmit(&huart1, (uint8_t*)uartBuffer, strlen(uartBuffer), HAL_MAX_DELAY);
	  }
  }
  /* USER CODE END StartAdcTask */
}

void Error_Handler(void)
{
  __disable_irq();
  while (1)
  {
  }
}
